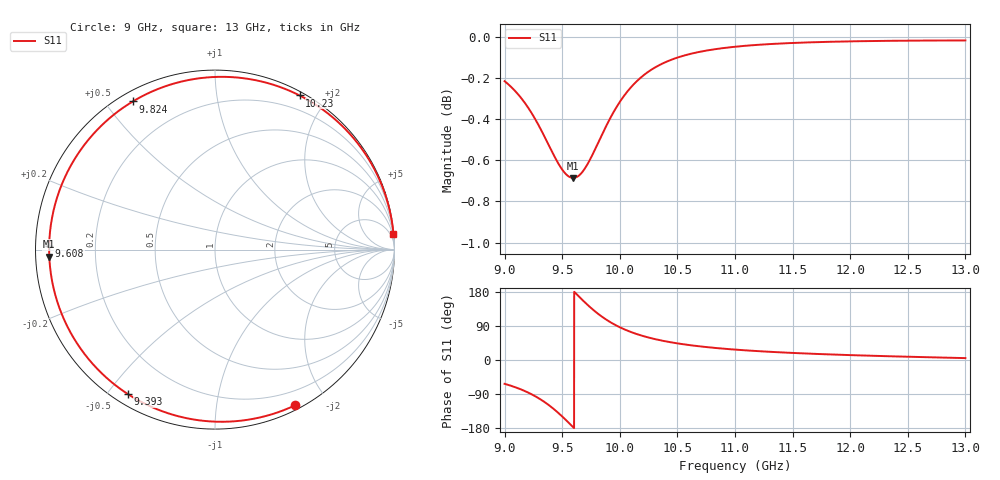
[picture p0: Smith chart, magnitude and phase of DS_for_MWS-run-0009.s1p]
! TOUCHSTONE file generated by CST DESIGN STUDIO
! Date and time: Tue Feb  4 13:08:17 2025
! Project name: C:\Work\MatlabApps\UnitCellOptimizationMatlab\CST\unitcell.cst
! Tree item: Tasks\Sweep1\SPara1\S-Parameters
! Header version: 2024
! Port assignment regex: !\s*Touchstone port\s*([0-9]+)\s*=\s*(CST MWS port|CST DES external port|CST DES block port)\s*(.+)\s* \(\"(.*)\"\)(\s*mode\s*([0-9]+))?.*
! Touchstone port assignment:
! Touchstone port 1 = CST DES external port 1 ("")
# GHz S MA R 50
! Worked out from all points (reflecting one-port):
!   4001 points, 9 GHz to 13 GHz, reference 50 ohm
!   lowest |S11| = -0.7 dB at 9.596 GHz (marker M1), VSWR 25.35, Z = 1.97 - j1.04 ohm
!   phase of S11 starts at -63 deg and turns -292 deg over the sweep
!   S11 on the Smith chart (normalised r, x): 9 GHz: 0.05, -1.64; 9.393 GHz: 0.04, -0.56; 9.608 GHz: 0.04, +0.01; 9.824 GHz: 0.04, +0.59; 10.23 GHz: 0.04, +1.69; 13 GHz: 1, +23
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9  0.9755 -62.8
9.05  0.9728 -67.5
9.12  0.9681 -75.0
9.241  0.9576 -91.5
9.322  0.9486 -105.9
9.393  0.94 -121.2
9.446  0.9337 -134.3
9.5  0.9284 -149.0
9.55  0.9251 -163.6
9.596  0.9241 -177.6
9.608  0.9242 178.7
9.664  0.9264 161.7
9.725  0.9318 144.1
9.774  0.9376 131.1
9.824  0.944 119.0
9.863  0.949 110.5
9.905  0.9541 102.2
10  0.9642 86.4
10.108  0.973 72.6
10.226  0.9797 61.2
10.353  0.9846 52.0
10.5  0.9885 43.9
10.72  0.992 35.1
11  0.9945 27.4
11.5  0.9966 18.6
12  0.9975 12.9
12.5  0.9979 8.6
13  0.998 5.0
